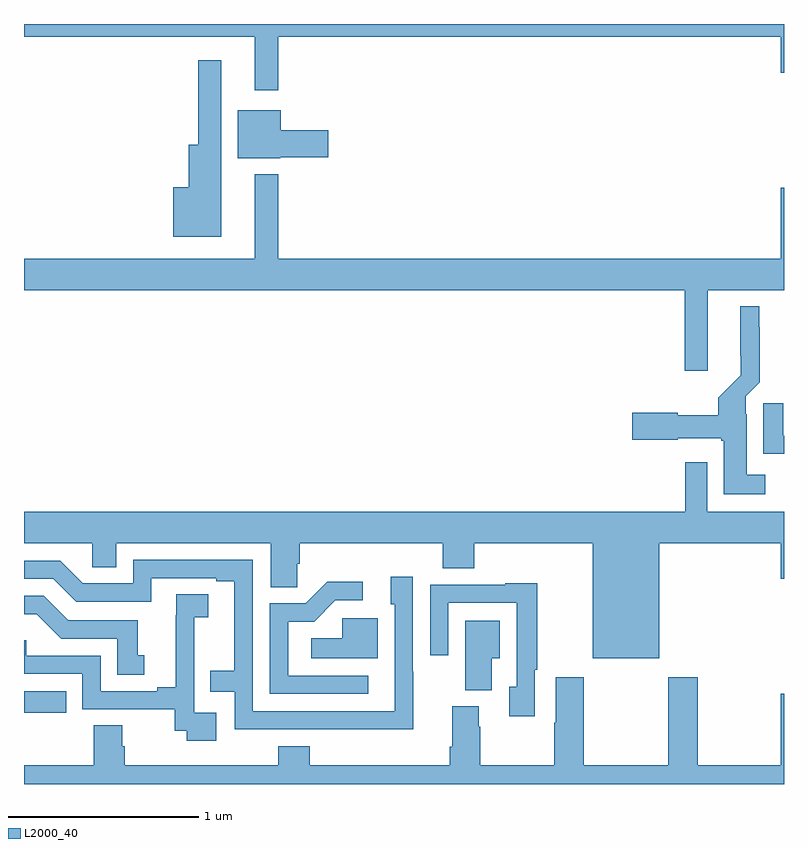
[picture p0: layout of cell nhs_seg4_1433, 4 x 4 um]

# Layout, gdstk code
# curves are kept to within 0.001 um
import gdstk
lib = gdstk.Library(unit=1e-6, precision=1e-09)
def R(c, l, rs):  # rectangles x0, y0, x1, y1
    for r in rs: c.add(gdstk.rectangle(r[:2], r[2:], *l))
def P(c, l, *ps):  # polygons
    for p in ps: c.add(gdstk.Polygon(p, *l))
L2000_40 = (2000, 40)

nhs_seg4_1433 = lib.new_cell('nhs_seg4_1433')
R(nhs_seg4_1433, L2000_40, [(185,781.274,185.222,781.389)])
P(nhs_seg4_1433, L2000_40, [(186.337,784.832),(188.984,784.832),(188.984,784.644),(189,784.644),(189,784.9),(185,784.9),(185,784.832),(186.215,784.832),(186.215,784.551),(186.337,784.551)],
  [(186.037,784.708),(185.916,784.708),(185.916,784.264),(185.867,784.264),(185.867,784.042),(185.786,784.042),(185.786,783.779),(186.037,783.779)],
  [(186.348,784.199),(186.601,784.199),(186.601,784.341),(186.352,784.341),(186.352,784.447),(186.125,784.447),(186.125,784.193),(186.348,784.193)],
  [(188.599,783.5),(189,783.5),(189,784.039),(188.984,784.039),(188.984,783.664),(186.337,783.664),(186.337,784.108),(186.215,784.108),(186.215,783.664),(185,783.664),(185,783.5),(188.477,783.5),(188.477,783.075),(188.599,783.075)],
  [(188.902,782.527),(188.803,782.527),(188.803,782.846),(188.799,782.846),(188.799,782.94),(188.873,783.014),(188.873,783.305),(188.869,783.305),(188.869,783.415),(188.771,783.415),(188.772,783.052),(188.654,782.934),(188.654,782.842),(188.442,782.842),(188.442,782.855),(188.202,782.855),(188.202,782.713),(188.442,782.713),(188.442,782.72),(188.67,782.72),(188.67,782.706),(188.684,782.706),(188.684,782.426),(188.902,782.426)],
  [(189,782.733),(188.995,782.733),(188.995,782.905),(188.891,782.905),(188.891,782.637),(189,782.637)],
  [(185,782.168),(185.358,782.168),(185.358,782.041),(185.485,782.041),(185.485,782.168),(186.299,782.168),(186.299,781.936),(186.438,781.936),(186.438,782.059),(186.452,782.059),(186.452,782.168),(187.205,782.168),(187.205,782.035),(187.37,782.035),(187.37,782.168),(187.994,782.168),(187.994,781.562),(188.344,781.562),(188.344,782.168),(188.984,782.168),(188.984,781.98),(189,781.98),(189,782.332),(188.595,782.332),(188.595,782.593),(188.479,782.593),(188.479,782.332),(185,782.332)],
  [(187.049,781.49),(187.047,781.49),(187.047,781.99),(186.929,781.99),(186.929,781.845),(186.951,781.845),(186.951,781.284),(186.204,781.284),(186.204,782.079),(185.574,782.079),(185.574,781.956),(185.31,781.956),(185.19,782.076),(185,782.076),(185,781.98),(185.154,781.98),(185.274,781.86),(185.67,781.86),(185.67,781.983),(186.011,781.983),(186.011,781.968),(186.107,781.968),(186.107,781.495),(185.98,781.495),(185.98,781.386),(186.108,781.386),(186.108,781.188),(187.049,781.187)],
  [(186.811,781.47),(186.39,781.47),(186.39,781.755),(186.528,781.755),(186.639,781.866),(186.784,781.866),(186.784,781.964),(186.596,781.964),(186.483,781.851),(186.294,781.851),(186.294,781.374),(186.811,781.374)],
  [(187.689,781.501),(187.702,781.501),(187.702,781.957),(187.533,781.957),(187.533,781.95),(187.137,781.95),(187.137,781.578),(187.233,781.578),(187.233,781.854),(187.593,781.854),(187.593,781.413),(187.553,781.413),(187.553,781.257),(187.689,781.257)],
  [(186.013,781.275),(185.895,781.275),(185.895,781.579),(185.897,781.579),(185.897,781.777),(185.971,781.777),(185.971,781.898),(185.8,781.898),(185.8,781.787),(185.798,781.787),(185.798,781.409),(185.702,781.409),(185.702,781.389),(185.403,781.389),(185.403,781.575),(185.013,781.575),(185.013,781.657),(185,781.657),(185,781.479),(185.307,781.479),(185.307,781.293),(185.794,781.293),(185.794,781.179),(185.857,781.179),(185.857,781.128),(186.013,781.128)],
  [(185.632,781.578),(185.599,781.578),(185.599,781.761),(185.232,781.761),(185.103,781.89),(185,781.89),(185,781.793),(185.068,781.793),(185.196,781.665),(185.492,781.665),(185.492,781.474),(185.632,781.474)],
  [(186.862,781.773),(186.675,781.773),(186.675,781.666),(186.513,781.666),(186.513,781.562),(186.862,781.562)],
  [(187.462,781.562),(187.504,781.562),(187.504,781.759),(187.322,781.759),(187.322,781.393),(187.462,781.393)],
  [(185.366,781.208),(185.366,781),(185,781),(185,780.9),(189,780.9),(189,781.375),(188.984,781.375),(188.984,781),(188.547,781),(188.547,781.462),(188.392,781.462),(188.392,781),(187.947,781),(187.947,781.462),(187.799,781.462),(187.799,781.223),(187.792,781.223),(187.792,781),(187.401,781),(187.401,781.202),(187.393,781.202),(187.393,781.308),(187.253,781.308),(187.253,781.096),(187.241,781.096),(187.241,781),(186.503,781),(186.503,781.099),(186.338,781.099),(186.338,781),(185.531,781),(185.531,781.098),(185.518,781.098),(185.518,781.208)])

lib.write_gds('nhs_seg4_1433.gds')
